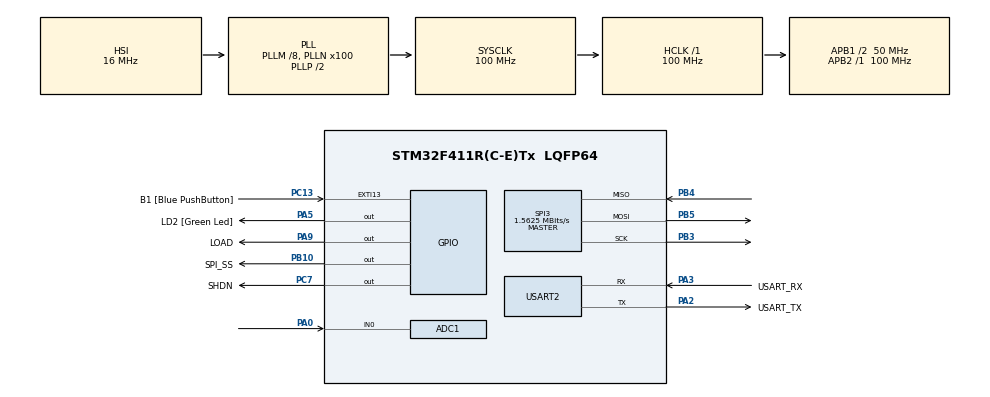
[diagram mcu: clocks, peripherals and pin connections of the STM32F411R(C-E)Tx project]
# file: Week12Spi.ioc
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Mcu.Family=STM32F4
PB10.PinState=GPIO_PIN_SET
RCC.CortexFreq_Value=100000000
SPI3.Direction=SPI_DIRECTION_2LINES
SPI3.VirtualType=VM_MASTER
ADC1.ContinuousConvMode=DISABLE
PA14.GPIO_Label=TCK
RCC.SYSCLKSource=RCC_SYSCLKSOURCE_PLLCLK
ProjectManager.StackSize=0x400
NVIC.ADC_IRQn=true\:0\:0\:false\:false\:true\:true\:true
PH0\ -\ OSC_IN.Signal=RCC_OSC_IN
RCC.HCLKFreq_Value=100000000
RCC.APB2TimFreq_Value=100000000
TIM3.Period=100
Dma.ADC1.0.Direction=DMA_PERIPH_TO_MEMORY
PC7.Signal=GPIO_Output
NVIC.DMA2_Stream0_IRQn=true\:0\:0\:false\:false\:true\:false\:true
Dma.ADC1.0.MemDataAlignment=DMA_MDATAALIGN_HALFWORD
RCC.AHBFreq_Value=100000000
SPI3.DataSize=SPI_DATASIZE_16BIT
ADC1.Channel-0\#ChannelRegularConversion=ADC_CHANNEL_0
NVIC.TIM1_TRG_COM_TIM11_IRQn=true\:0\:0\:false\:false\:true\:true\:true
RCC.HSE_VALUE=8000000
PB3.Mode=Full_Duplex_Master
ADC1.ScanConvMode=ENABLE
PC13-ANTI_TAMP.Signal=GPXTI13
PB4.Mode=Full_Duplex_Master
PC14-OSC32_IN.Mode=LSE-External-Oscillator
PA14.Mode=Serial_Wire
TIM3.Prescaler=100
Dma.ADC1.0.PeriphInc=DMA_PINC_DISABLE
PB5.Mode=Full_Duplex_Master
PC7.PinState=GPIO_PIN_SET
SH.ADCx_IN0.0=ADC1_IN0,IN0
ADC1.SamplingTime-0\#ChannelRegularConversion=ADC_SAMPLETIME_3CYCLES
RCC.FLatency-AdvancedSettings=FLASH_LATENCY_3
Mcu.Package=LQFP64
SPI3.Mode=SPI_MODE_MASTER
USART2.VirtualMode=VM_ASYNC
PA2.GPIO_Label=USART_TX
NVIC.SPI3_IRQn=true\:0\:0\:false\:false\:true\:true\:true
RCC.APB1TimFreq_Value=100000000
Dma.ADC1.0.FIFOMode=DMA_FIFOMODE_DISABLE
Dma.Request0=ADC1
ADC1.EOCSelection=ADC_EOC_SEQ_CONV
VP_TIM3_VS_ClockSourceINT.Mode=Internal
PB4.Signal=SPI3_MISO
PA3.Signal=USART2_RX
PC15-OSC32_OUT.Mode=LSE-External-Oscillator
Dma.ADC1.0.Instance=DMA2_Stream0
ADC1.Rank-0\#ChannelRegularConversion=1
PC13-ANTI_TAMP.GPIO_Label=B1 [Blue PushButton]
PA9.GPIO_Label=LOAD
PH1\ -\ OSC_OUT.Mode=HSE-External-Clock-Source
ADC1.DiscontinuousConvMode=DISABLE
TIM11.Prescaler=100
RCC.APB1CLKDivider=RCC_HCLK_DIV2
PC14-OSC32_IN.Signal=RCC_OSC32_IN
NVIC.USART2_IRQn=true\:0\:0\:false\:false\:true\:true\:true
PA0-WKUP.Signal=ADCx_IN0
VP_TIM11_VS_ClockSourceINT.Mode=Enable_Timer
PA13.Signal=SYS_JTMS-SWDIO
PA3.Mode=Asynchronous
Dma.ADC1.0.PeriphDataAlignment=DMA_PDATAALIGN_HALFWORD
PH0\ -\ OSC_IN.Mode=HSE-External-Clock-Source
ProjectManager.TargetToolchain=STM32CubeIDE
PB10.GPIO_Label=SPI_SS
Dma.ADC1.0.Mode=DMA_CIRCULAR
Dma.ADC1.0.Priority=DMA_PRIORITY_LOW
PA9.Signal=GPIO_Output
PA9.PinState=GPIO_PIN_SET
PC15-OSC32_OUT.Signal=RCC_OSC32_OUT
PB10.Signal=GPIO_Output
PA5.Signal=GPIO_Output
PH1\ -\ OSC_OUT.Signal=RCC_OSC_OUT
board=NUCLEO-F411RE
RCC.VCOOutputFreq_Value=200000000
RCC.APB2Freq_Value=100000000
SPI3.CalculateBaudRate=1.5625 MBits/s
SPI3.BaudRatePrescaler=SPI_BAUDRATEPRESCALER_32
ADC1.DMAContinuousRequests=ENABLE
PA13.Mode=Serial_Wire
Mcu.Name=STM32F411R(C-E)Tx
PA2.Signal=USART2_TX
PA13.GPIO_Label=TMS
ADC1.ExternalTrigConv=ADC_EXTERNALTRIGCONV_T3_TRGO
PC7.GPIO_Label=SHDN
RCC.48MHZClocksFreq_Value=50000000
PB3.Signal=SPI3_SCK
RCC.SYSCLKFreq_VALUE=100000000
PB5.Signal=SPI3_MOSI
ADC1.master=1
PA5.GPIO_Label=LD2 [Green Led]
PC13-ANTI_TAMP.GPIO_ModeDefaultEXTI=GPIO_MODE_IT_FALLING
PA14.Signal=SYS_JTCK-SWCLK
Dma.ADC1.0.MemInc=DMA_MINC_ENABLE
ProjectManager.HeapSize=0x200
RCC.HSI_VALUE=16000000
NVIC.PriorityGroup=NVIC_PRIORITYGROUP_0
ADC1.NbrOfConversionFlag=1
RCC.PLLM=8
RCC.PLLN=100
PA2.Mode=Asynchronous
TIM3.TIM_MasterOutputTrigger=TIM_TRGO_UPDATE
RCC.APB1Freq_Value=50000000
PA3.GPIO_Label=USART_RX

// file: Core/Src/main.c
 /* USER CODE BEGIN Header */
/**
 ******************************************************************************
 * @file           : main.c
 * @brief          : Main program body
 ******************************************************************************
 * @attention
 *
 * <h2><center>&copy; Copyright (c) 2021 STMicroelectronics.
 * All rights reserved.</center></h2>
 *
 * This software component is licensed by ST under BSD 3-Clause license,
 * the "License"; You may not use this file except in compliance with the
 * License. You may obtain a copy of the License at:
 *                        opensource.org/licenses/BSD-3-Clause
 *
 ******************************************************************************
 */
/* USER CODE END Header */
#include "main.h"

/* USER CODE BEGIN Includes */
#include <stdio.h>
#include <string.h>
#include <math.h>

/* USER CODE END Includes */

ADC_HandleTypeDef hadc1;
DMA_HandleTypeDef hdma_adc1;

SPI_HandleTypeDef hspi3;

TIM_HandleTypeDef htim3;
TIM_HandleTypeDef htim11;

UART_HandleTypeDef huart2;

/* USER CODE BEGIN PV */
uint16_t ADCin = 0;
uint64_t _micro = 0;
uint64_t t = 0;
uint16_t dataOut = 0;
uint8_t DACConfig = 0b0011;
uint8_t menu=1;
uint16_t F = 100 ;
uint16_t Vmax=33;
uint16_t Vmin=0;
uint16_t Dutycle=50;
uint32_t read=0;
char TxDataBuffer[32] =
{ 0 };
char RxDataBuffer[32] =
{ 0 };
char data[32]={0};
float slope=0;
uint8_t waveform=0;
double sin1;
/* USER CODE END PV */

void SystemClock_Config(void);
static void MX_GPIO_Init(void);
static void MX_DMA_Init(void);
static void MX_USART2_UART_Init(void);
static void MX_SPI3_Init(void);
static void MX_ADC1_Init(void);
static void MX_TIM3_Init(void);
static void MX_TIM11_Init(void);
/* USER CODE BEGIN PFP */
void MCP4922SetOutput(uint8_t Config, uint16_t DACOutput);
uint64_t micros();
//void UARTRecieveAndResponsePolling();
int16_t UARTRecieveIT();
/* USER CODE END PFP */

int main(void)
{
  /* USER CODE BEGIN 1 */

char temp[]="*********MENU*********\r\n\n a:SlopeUp Sawtooth Wave     s:SlopeDown Sawtooth Wave\r\n d:SinWave                   f:SquareWave\r\n g:adjustVmax                h:adjustVmin\r\n j:adjustF and Dutycycle\r\n";
char temp2[]="*********MENU AdjustVmax*********\r\n\n a:Voltage Up 0.1 v\r\n s:Voltage Down 0.1 v \r\n b:Back\r\n";
char temp3[]="*********MENU AdjustVmin*********\r\n\n a:Voltage Up 0.1 v\r\n s:Voltage Down 0.1 v \r\n b:Back\r\n";
char temp4[]="Input incorrect\r\n";
char temp5[]="*********MENU AdjustFrequency And Dutycycle*********\r\n a:Frequency Up 0.1 Hz\r\n s:Frequency Down 0.1 Hz \r\n d:Dutycycle up 1% \r\n f:Dutycycle Down 1%\r\n b:Back\r\n";
char temp6[]="Back";
  /* USER CODE END 1 */

  /* MCU Configuration--------------------------------------------------------*/

  /* Reset of all peripherals, Initializes the Flash interface and the Systick. */
  HAL_Init();

  /* Configure the system clock */
  SystemClock_Config();

  /* Initialize all configured peripherals */
  MX_GPIO_Init();
  MX_DMA_Init();
  MX_USART2_UART_Init();
  MX_SPI3_Init();
  MX_ADC1_Init();
  MX_TIM3_Init();
  MX_TIM11_Init();
  /* USER CODE BEGIN 2 */
	HAL_TIM_Base_Start(&htim3);
	HAL_TIM_Base_Start_IT(&htim11);
	HAL_ADC_Start_DMA(&hadc1, (uint32_t*) &ADCin, 1);

	HAL_GPIO_WritePin(LOAD_GPIO_Port, LOAD_Pin, GPIO_PIN_RESET);
  /* USER CODE END 2 */

  /* Infinite loop */
  /* USER CODE BEGIN WHILE */
	while (1)
	{
		/*Method 2 Interrupt Mode*/
		HAL_UART_Receive_IT(&huart2,  (uint8_t*)RxDataBuffer, 32);

		/*Method 2 W/ 1 Char Received*/
		int16_t inputchar = UARTRecieveIT();
		if(inputchar!=-1)
		{
			sprintf(TxDataBuffer, "ReceivedChar:[%c]\r\n", inputchar);
			HAL_UART_Transmit(&huart2, (uint8_t*)TxDataBuffer, strlen(TxDataBuffer), 1000);
		}

		switch(menu)
		{
		case 1:
			HAL_UART_Transmit(&huart2, (uint8_t*)temp, strlen(temp),100);
			menu=2;
			break;
		case 2:
			switch(inputchar)
			{
			case -1:
				break;
			case 'a':///sawup
				waveform=0;
				sprintf(data, "Sawtooth Slope Up\r\n");
				HAL_UART_Transmit(&huart2, (uint8_t*)data, strlen(data), 100);
				menu=1;
				break;
			case 's':///sawdown
				waveform=1;
				sprintf(data, "Sawtooth Slope Down\r\n");
				HAL_UART_Transmit(&huart2, (uint8_t*)data, strlen(data), 100);
				menu=1;
				break;

			case 'd'://sin
				waveform=2;
				sprintf(data, "Sin Wave\r\n");
				HAL_UART_Transmit(&huart2, (uint8_t*)data, strlen(data), 100);
				menu=1;
				break;
			case 'f'://pwm
				sprintf(data, "Square Wave\r\n");
				HAL_UART_Transmit(&huart2, (uint8_t*)data, strlen(data), 100);
				menu=1;
				waveform=3;
				break;
			case 'g'://vhig
				menu=3;
				break;
			case 'h'://vlow
				menu=5;
				break;
			case 'j'://F
				menu=7;
				break;
			default :
				menu=1;
				HAL_UART_Transmit(&huart2, (uint8_t*)temp4, strlen(temp4),100);
				break;
			}
			break;
		case 3://vhig menu
			HAL_UART_Transmit(&huart2, (uint8_t*)temp2, strlen(temp2),100);
			menu=4;
			break;
		case 4:
			switch(inputchar)
			{
			case 'a'://up
				if(Vmax<33)
				{
				Vmax+=1;
				}
				sprintf(data, "Vmax=%d.%d\r\n", Vmax/10,Vmax%10);
				HAL_UART_Transmit(&huart2, (uint8_t*)data, strlen(data), 100);
				menu=3;
				break;
			case 's'://down
				if(Vmax-1>Vmin)
				{
				Vmax-=1;
				}
				sprintf(data, "Vmax=%d.%d\r\n", Vmax/10,Vmax%10);
				HAL_UART_Transmit(&huart2, (uint8_t*)data, strlen(data), 100);
				menu=3;
				break;
			case 'b'://back
				menu=1;
				HAL_UART_Transmit(&huart2, (uint8_t*)temp6, strlen(temp6),100);
				break;
			case -1:
				break;
			default :
				HAL_UART_Transmit(&huart2, (uint8_t*)temp4, strlen(temp4),100);
				menu=3;
				break;
			}
			break;
		case 5://vlow menu
			menu=6;
			HAL_UART_Transmit(&huart2, (uint8_t*)temp3, strlen(temp3),100);
			break;
		case 6:
			switch(inputchar)
			{
			case 'a'://up
				if(Vmin+1<Vmax)
				{
				Vmin+=1;
				}
				sprintf(data, "Vmin=%d.%d\r\n", Vmin/10,Vmin%10);
				HAL_UART_Transmit(&huart2, (uint8_t*)data, strlen(data), 100);
				menu=5;
				break;
			case 's'://down
				if(Vmin>0)
				{
				Vmin-=1;
				}
				sprintf(data, "Vmin=%d.%d\r\n", Vmin/10,Vmin%10);
				HAL_UART_Transmit(&huart2, (uint8_t*)data, strlen(data), 100);
				menu=5;
				break;
			case 'b'://back
				menu=1;
				HAL_UART_Transmit(&huart2, (uint8_t*)temp6, strlen(temp6),100);
				break;
			case -1:
				break;
			default :
				HAL_UART_Transmit(&huart2, (uint8_t*)temp4, strlen(temp4),100);
				menu=5;
				break;
			}
			break;
		case 7://f menu
			menu=8;
			HAL_UART_Transmit(&huart2, (uint8_t*)temp5, strlen(temp5),100);
			break;
		case 8:
			switch(inputchar)
			{
			case 'a'://up
				F+=1;
				sprintf(data, "Frequency=%d.%d\r\n", F/10,F%10);
				HAL_UART_Transmit(&huart2, (uint8_t*)data, strlen(data), 100);
				menu=7;
				break;
			case 's'://down
				if(F>0)
				{
				F-=1;
				}
				sprintf(data, "Frequency=%d.%d\r\n", F/10,F%10);
				HAL_UART_Transmit(&huart2, (uint8_t*)data, strlen(data), 100);
				menu=7;
				break;
			case 'd':
				if (Dutycle<100)
				{
				Dutycle +=1;
				}
				sprintf(data, "Dutycle=%d percent\r\n", Dutycle);
				HAL_UART_Transmit(&huart2, (uint8_t*)data, strlen(data), 100);
				menu=7;
				break;
			case 'f':
				if (Dutycle>0)
				{
				Dutycle -=1;
				}
				sprintf(data, "Dutycle=%d percent\r\n", Dutycle);
				HAL_UART_Transmit(&huart2, (uint8_t*)data, strlen(data), 100);
				menu=7;
				break;
			case 'b'://back
				menu=1;
				HAL_UART_Transmit(&huart2, (uint8_t*)temp6, strlen(temp6),100);
				break;
			case -1:
				break;
			default :
				HAL_UART_Transmit(&huart2, (uint8_t*)temp4, strlen(temp4),100);
				menu=7;
				break;
			}
			break;
		}

		static uint64_t timestamp = 0;
		if (micros() - timestamp > 100)
		{	timestamp = micros();
			if(F>0)
			{
			t=timestamp%(10000000/F);
			if (waveform==0)
			{
				slope=(Vmax-Vmin)/(float)(10000000/F);
				dataOut=((slope*t)+Vmin)*4095/(33);
			}
			else if (waveform==1)
			{
				slope=(Vmax-Vmin)/(float)(10000000/F);
				dataOut=(-slope*t+Vmax)*4095/33;
			}
			else if (waveform==2)
			{
				sin1 = 2*3.141592*t/(float)(10000000/F);
				dataOut=(((Vmax-Vmin)/2)*(sin(sin1))+(Vmax+Vmin)/2)*4095/33;
			}
			else if (waveform==3)
			{
				if(t>=Dutycle*(10000000/F)/100)
				{
					dataOut=Vmin*4095/33;
				}
				else
				{
					dataOut=Vmax*4095/33;
				}
			}
			}
//			dataOut++;
//			dataOut %= 4096;
			if (hspi3.State == HAL_SPI_STATE_READY
					&& HAL_GPIO_ReadPin(SPI_SS_GPIO_Port, SPI_SS_Pin)
							== GPIO_PIN_SET)
			{
				MCP4922SetOutput(DACConfig, dataOut);
			}
		}
    /* USER CODE END WHILE */

	}
}

void SystemClock_Config(void)
{
  RCC_OscInitTypeDef RCC_OscInitStruct = {0};
  RCC_ClkInitTypeDef RCC_ClkInitStruct = {0};

  /** Configure the main internal regulator output voltage
  */
  __HAL_RCC_PWR_CLK_ENABLE();
  __HAL_PWR_VOLTAGESCALING_CONFIG(PWR_REGULATOR_VOLTAGE_SCALE1);
  /** Initializes the RCC Oscillators according to the specified parameters
  * in the RCC_OscInitTypeDef structure.
  */
  RCC_OscInitStruct.OscillatorType = RCC_OSCILLATORTYPE_HSI;
  RCC_OscInitStruct.HSIState = RCC_HSI_ON;
  RCC_OscInitStruct.HSICalibrationValue = RCC_HSICALIBRATION_DEFAULT;
  RCC_OscInitStruct.PLL.PLLState = RCC_PLL_ON;
  RCC_OscInitStruct.PLL.PLLSource = RCC_PLLSOURCE_HSI;
  RCC_OscInitStruct.PLL.PLLM = 8;
  RCC_OscInitStruct.PLL.PLLN = 100;
  RCC_OscInitStruct.PLL.PLLP = RCC_PLLP_DIV2;
  RCC_OscInitStruct.PLL.PLLQ = 4;
  if (HAL_RCC_OscConfig(&RCC_OscInitStruct) != HAL_OK)
  {
    Error_Handler();
  }
  /** Initializes the CPU, AHB and APB buses clocks
  */
  RCC_ClkInitStruct.ClockType = RCC_CLOCKTYPE_HCLK|RCC_CLOCKTYPE_SYSCLK
                              |RCC_CLOCKTYPE_PCLK1|RCC_CLOCKTYPE_PCLK2;
  RCC_ClkInitStruct.SYSCLKSource = RCC_SYSCLKSOURCE_PLLCLK;
  RCC_ClkInitStruct.AHBCLKDivider = RCC_SYSCLK_DIV1;
  RCC_ClkInitStruct.APB1CLKDivider = RCC_HCLK_DIV2;
  RCC_ClkInitStruct.APB2CLKDivider = RCC_HCLK_DIV1;

  if (HAL_RCC_ClockConfig(&RCC_ClkInitStruct, FLASH_LATENCY_3) != HAL_OK)
  {
    Error_Handler();
  }
}

static void MX_ADC1_Init(void)
{

  ADC_ChannelConfTypeDef sConfig = {0};

  /** Configure the global features of the ADC (Clock, Resolution, Data Alignment and number of conversion)
  */
  hadc1.Instance = ADC1;
  hadc1.Init.ClockPrescaler = ADC_CLOCK_SYNC_PCLK_DIV4;
  hadc1.Init.Resolution = ADC_RESOLUTION_12B;
  hadc1.Init.ScanConvMode = ENABLE;
  hadc1.Init.ContinuousConvMode = DISABLE;
  hadc1.Init.DiscontinuousConvMode = DISABLE;
  hadc1.Init.ExternalTrigConvEdge = ADC_EXTERNALTRIGCONVEDGE_RISING;
  hadc1.Init.ExternalTrigConv = ADC_EXTERNALTRIGCONV_T3_TRGO;
  hadc1.Init.DataAlign = ADC_DATAALIGN_RIGHT;
  hadc1.Init.NbrOfConversion = 1;
  hadc1.Init.DMAContinuousRequests = ENABLE;
  hadc1.Init.EOCSelection = ADC_EOC_SEQ_CONV;
  if (HAL_ADC_Init(&hadc1) != HAL_OK)
  {
    Error_Handler();
  }
  /** Configure for the selected ADC regular channel its corresponding rank in the sequencer and its sample time.
  */
  sConfig.Channel = ADC_CHANNEL_0;
  sConfig.Rank = 1;
  sConfig.SamplingTime = ADC_SAMPLETIME_3CYCLES;
  if (HAL_ADC_ConfigChannel(&hadc1, &sConfig) != HAL_OK)
  {
    Error_Handler();
  }

}

static void MX_SPI3_Init(void)
{

  /* SPI3 parameter configuration*/
  hspi3.Instance = SPI3;
  hspi3.Init.Mode = SPI_MODE_MASTER;
  hspi3.Init.Direction = SPI_DIRECTION_2LINES;
  hspi3.Init.DataSize = SPI_DATASIZE_16BIT;
  hspi3.Init.CLKPolarity = SPI_POLARITY_LOW;
  hspi3.Init.CLKPhase = SPI_PHASE_1EDGE;
  hspi3.Init.NSS = SPI_NSS_SOFT;
  hspi3.Init.BaudRatePrescaler = SPI_BAUDRATEPRESCALER_32;
  hspi3.Init.FirstBit = SPI_FIRSTBIT_MSB;
  hspi3.Init.TIMode = SPI_TIMODE_DISABLE;
  hspi3.Init.CRCCalculation = SPI_CRCCALCULATION_DISABLE;
  hspi3.Init.CRCPolynomial = 10;
  if (HAL_SPI_Init(&hspi3) != HAL_OK)
  {
    Error_Handler();
  }

}

static void MX_TIM3_Init(void)
{

  TIM_ClockConfigTypeDef sClockSourceConfig = {0};
  TIM_MasterConfigTypeDef sMasterConfig = {0};

  htim3.Instance = TIM3;
  htim3.Init.Prescaler = 100;
  htim3.Init.CounterMode = TIM_COUNTERMODE_UP;
  htim3.Init.Period = 100;
  htim3.Init.ClockDivision = TIM_CLOCKDIVISION_DIV1;
  htim3.Init.AutoReloadPreload = TIM_AUTORELOAD_PRELOAD_DISABLE;
  if (HAL_TIM_Base_Init(&htim3) != HAL_OK)
  {
    Error_Handler();
  }
  sClockSourceConfig.ClockSource = TIM_CLOCKSOURCE_INTERNAL;
  if (HAL_TIM_ConfigClockSource(&htim3, &sClockSourceConfig) != HAL_OK)
  {
    Error_Handler();
  }
  sMasterConfig.MasterOutputTrigger = TIM_TRGO_UPDATE;
  sMasterConfig.MasterSlaveMode = TIM_MASTERSLAVEMODE_DISABLE;
  if (HAL_TIMEx_MasterConfigSynchronization(&htim3, &sMasterConfig) != HAL_OK)
  {
    Error_Handler();
  }

}

static void MX_TIM11_Init(void)
{

  htim11.Instance = TIM11;
  htim11.Init.Prescaler = 100;
  htim11.Init.CounterMode = TIM_COUNTERMODE_UP;
  htim11.Init.Period = 65535;
  htim11.Init.ClockDivision = TIM_CLOCKDIVISION_DIV1;
  htim11.Init.AutoReloadPreload = TIM_AUTORELOAD_PRELOAD_DISABLE;
  if (HAL_TIM_Base_Init(&htim11) != HAL_OK)
  {
    Error_Handler();
  }

}

static void MX_USART2_UART_Init(void)
{

  huart2.Instance = USART2;
  huart2.Init.BaudRate = 115200;
  huart2.Init.WordLength = UART_WORDLENGTH_8B;
  huart2.Init.StopBits = UART_STOPBITS_1;
  huart2.Init.Parity = UART_PARITY_NONE;
  huart2.Init.Mode = UART_MODE_TX_RX;
  huart2.Init.HwFlowCtl = UART_HWCONTROL_NONE;
  huart2.Init.OverSampling = UART_OVERSAMPLING_16;
  if (HAL_UART_Init(&huart2) != HAL_OK)
  {
    Error_Handler();
  }

}

static void MX_DMA_Init(void)
{

  /* DMA controller clock enable */
  __HAL_RCC_DMA2_CLK_ENABLE();

  /* DMA interrupt init */
  /* DMA2_Stream0_IRQn interrupt configuration */
  HAL_NVIC_SetPriority(DMA2_Stream0_IRQn, 0, 0);
  HAL_NVIC_EnableIRQ(DMA2_Stream0_IRQn);

}

static void MX_GPIO_Init(void)
{
  GPIO_InitTypeDef GPIO_InitStruct = {0};

  /* GPIO Ports Clock Enable */
  __HAL_RCC_GPIOC_CLK_ENABLE();
  __HAL_RCC_GPIOH_CLK_ENABLE();
  __HAL_RCC_GPIOA_CLK_ENABLE();
  __HAL_RCC_GPIOB_CLK_ENABLE();

  /*Configure GPIO pin Output Level */
  HAL_GPIO_WritePin(LD2_GPIO_Port, LD2_Pin, GPIO_PIN_RESET);

  /*Configure GPIO pin Output Level */
  HAL_GPIO_WritePin(SPI_SS_GPIO_Port, SPI_SS_Pin, GPIO_PIN_SET);

  /*Configure GPIO pin Output Level */
  HAL_GPIO_WritePin(SHDN_GPIO_Port, SHDN_Pin, GPIO_PIN_SET);

  /*Configure GPIO pin Output Level */
  HAL_GPIO_WritePin(LOAD_GPIO_Port, LOAD_Pin, GPIO_PIN_SET);

  /*Configure GPIO pin : B1_Pin */
  GPIO_InitStruct.Pin = B1_Pin;
  GPIO_InitStruct.Mode = GPIO_MODE_IT_FALLING;
  GPIO_InitStruct.Pull = GPIO_NOPULL;
  HAL_GPIO_Init(B1_GPIO_Port, &GPIO_InitStruct);

  /*Configure GPIO pins : LD2_Pin LOAD_Pin */
  GPIO_InitStruct.Pin = LD2_Pin|LOAD_Pin;
  GPIO_InitStruct.Mode = GPIO_MODE_OUTPUT_PP;
  GPIO_InitStruct.Pull = GPIO_NOPULL;
  GPIO_InitStruct.Speed = GPIO_SPEED_FREQ_LOW;
  HAL_GPIO_Init(GPIOA, &GPIO_InitStruct);

  /*Configure GPIO pin : SPI_SS_Pin */
  GPIO_InitStruct.Pin = SPI_SS_Pin;
  GPIO_InitStruct.Mode = GPIO_MODE_OUTPUT_PP;
  GPIO_InitStruct.Pull = GPIO_NOPULL;
  GPIO_InitStruct.Speed = GPIO_SPEED_FREQ_LOW;
  HAL_GPIO_Init(SPI_SS_GPIO_Port, &GPIO_InitStruct);

  /*Configure GPIO pin : SHDN_Pin */
  GPIO_InitStruct.Pin = SHDN_Pin;
  GPIO_InitStruct.Mode = GPIO_MODE_OUTPUT_PP;
  GPIO_InitStruct.Pull = GPIO_NOPULL;
  GPIO_InitStruct.Speed = GPIO_SPEED_FREQ_LOW;
  HAL_GPIO_Init(SHDN_GPIO_Port, &GPIO_InitStruct);

}

/* USER CODE BEGIN 4 */
int16_t UARTRecieveIT()
{
	static uint32_t dataPos =0;
	int16_t data=-1;
	if(huart2.RxXferSize - huart2.RxXferCount!=dataPos)
	{
		data=RxDataBuffer[dataPos];
		dataPos= (dataPos+1)%huart2.RxXferSize;
	}
	return data;
}

void HAL_UART_RxCpltCallback(UART_HandleTypeDef *huart)
{
//	sprintf(TxDataBuffer, "Received:[%s]\r\n", RxDataBuffer);
//	HAL_UART_Transmit(&huart2, (uint8_t*)TxDataBuffer, strlen(TxDataBuffer), 1000);
}

void MCP4922SetOutput(uint8_t Config, uint16_t DACOutput)
{
	uint32_t OutputPacket = (DACOutput & 0x0fff) | ((Config & 0xf) << 12);
	HAL_GPIO_WritePin(SPI_SS_GPIO_Port, SPI_SS_Pin, GPIO_PIN_RESET);
	HAL_SPI_Transmit_IT(&hspi3, &OutputPacket, 1);
}

void HAL_SPI_TxCpltCallback(SPI_HandleTypeDef *hspi)
{
	if (hspi == &hspi3)
	{
		HAL_GPIO_WritePin(SPI_SS_GPIO_Port, SPI_SS_Pin, GPIO_PIN_SET);
	}
}

void HAL_TIM_PeriodElapsedCallback(TIM_HandleTypeDef *htim)
{
	if (htim == &htim11)
	{
		_micro += 65535;
	}
}

inline uint64_t micros()
{
	return htim11.Instance->CNT + _micro;
}
/* USER CODE END 4 */

void Error_Handler(void)
{
	__disable_irq();
	while (1)
	{
	}
}

/************************ (C) COPYRIGHT STMicroelectronics *****END OF FILE****/
